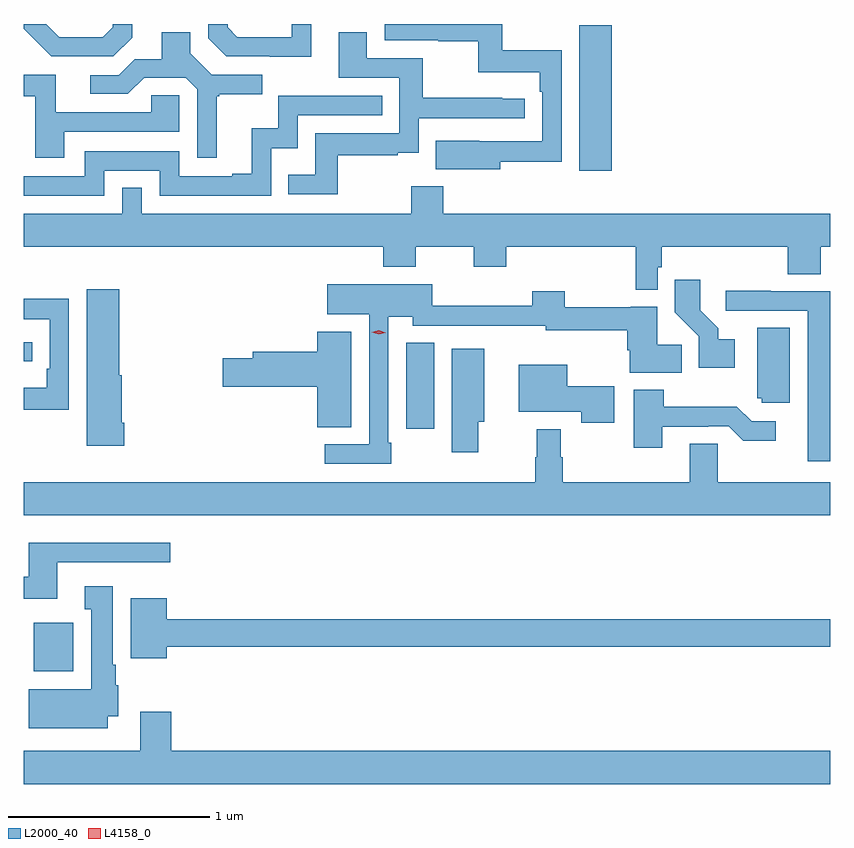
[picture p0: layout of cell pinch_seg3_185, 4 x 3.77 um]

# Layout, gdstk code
import gdstk
lib = gdstk.Library(unit=1e-6, precision=1e-09)
def R(c, l, rs):  # rectangles x0, y0, x1, y1
    for r in rs: c.add(gdstk.rectangle(r[:2], r[2:], *l))
def P(c, l, *ps):  # polygons
    for p in ps: c.add(gdstk.Polygon(p, *l))
L2000_40 = (2000, 40)
L4158_0 = (4158, 0)

pinch_seg3_185 = lib.new_cell('pinch_seg3_185')
R(pinch_seg3_185, L2000_40, [(987.131,745.43,987.328,745.672), (988.979,746.634,989.116,747.059), (987.081,746.967,987.124,747.063), (989.837,747.912,989.998,748.633)])
P(pinch_seg3_185, L2000_40, [(987.619,748.573),(987.619,748.64),(987.522,748.64),(987.522,748.623),(987.474,748.575),(987.258,748.575),(987.193,748.64),(987.081,748.64),(987.081,748.617),(987.219,748.479),(987.525,748.479)],
  [(988.507,748.64),(988.41,748.64),(988.41,748.575),(988.14,748.575),(988.092,748.623),(988.092,748.64),(987.996,748.64),(987.996,748.569),(988.086,748.479),(988.302,748.479),(988.302,748.478),(988.507,748.478)],
  [(989.443,747.958),(989.748,747.958),(989.748,748.51),(989.455,748.51),(989.455,748.64),(988.872,748.64),(988.872,748.56),(989.137,748.56),(989.137,748.555),(989.334,748.555),(989.334,748.4),(989.639,748.4),(989.639,748.304),(989.652,748.304),(989.652,748.059),(989.339,748.059),(989.339,748.06),(989.125,748.06),(989.125,747.92),(989.443,747.92)],
  [(988.639,747.99),(988.937,747.99),(988.937,748.001),(989.04,748.001),(989.04,748.173),(989.566,748.173),(989.566,748.269),(989.453,748.269),(989.453,748.274),(989.06,748.274),(989.06,748.47),(988.783,748.47),(988.783,748.598),(988.643,748.598),(988.643,748.374),(988.944,748.374),(988.944,748.098),(988.528,748.098),(988.528,747.892),(988.393,747.892),(988.393,747.795),(988.639,747.795)],
  [(988.039,748.281),(988.051,748.281),(988.051,748.292),(988.264,748.292),(988.264,748.389),(988.014,748.389),(987.907,748.496),(987.907,748.598),(987.767,748.598),(987.767,748.466),(987.632,748.466),(987.552,748.386),(987.411,748.386),(987.411,748.293),(987.598,748.293),(987.679,748.374),(987.885,748.374),(987.942,748.317),(987.942,747.978),(988.039,747.978)],
  [(987.283,748.107),(987.852,748.107),(987.852,748.287),(987.715,748.287),(987.715,748.203),(987.241,748.203),(987.241,748.389),(987.081,748.389),(987.081,748.281),(987.139,748.281),(987.139,747.978),(987.283,747.978)],
  [(987.48,747.912),(987.756,747.912),(987.756,747.789),(988.308,747.789),(988.308,748.025),(988.44,748.025),(988.44,748.188),(988.859,748.188),(988.859,748.284),(988.344,748.284),(988.344,748.123),(988.211,748.123),(988.211,747.898),(988.115,747.898),(988.115,747.885),(987.852,747.885),(987.852,748.008),(987.384,748.008),(987.384,747.885),(987.081,747.885),(987.081,747.789),(987.48,747.789)],
  [(990.225,747.435),(990.245,747.435),(990.245,747.536),(990.869,747.536),(990.869,747.4),(991.034,747.4),(991.034,747.536),(991.081,747.536),(991.081,747.7),(989.162,747.7),(989.162,747.835),(989.002,747.835),(989.002,747.7),(987.666,747.7),(987.666,747.827),(987.57,747.827),(987.57,747.7),(987.081,747.7),(987.081,747.536),(988.865,747.536),(988.865,747.437),(989.025,747.437),(989.025,747.536),(989.314,747.536),(989.314,747.437),(989.474,747.437),(989.474,747.536),(990.117,747.536),(990.117,747.323),(990.225,747.323)],
  [(990.607,747.076),(990.526,747.076),(990.526,747.131),(990.436,747.221),(990.436,747.373),(990.31,747.373),(990.31,747.21),(990.429,747.091),(990.429,746.936),(990.607,746.936)],
  [(988.903,746.563),(988.89,746.563),(988.89,747.188),(989.01,747.188),(989.01,747.144),(989.461,747.144),(989.461,747.143),(989.67,747.143),(989.67,747.121),(990.074,747.121),(990.074,747.023),(990.086,747.023),(990.086,746.912),(990.344,746.912),(990.344,747.05),(990.223,747.05),(990.223,747.238),(990.09,747.238),(990.09,747.235),(989.763,747.235),(989.763,747.316),(989.603,747.316),(989.603,747.242),(989.106,747.242),(989.106,747.349),(988.587,747.349),(988.587,747.2),(988.794,747.2),(988.794,746.556),(988.575,746.556),(988.575,746.46),(988.903,746.46)],
  [(987.581,746.662),(987.568,746.662),(987.568,746.898),(987.556,746.898),(987.556,747.325),(987.395,747.325),(987.395,746.55),(987.581,746.55)],
  [(991.081,747.315),(990.785,747.315),(990.785,747.318),(990.561,747.318),(990.561,747.219),(990.969,747.219),(990.969,746.472),(991.081,746.472)],
  [(987.306,747.278),(987.081,747.278),(987.081,747.177),(987.21,747.177),(987.21,746.932),(987.197,746.932),(987.197,746.836),(987.081,746.836),(987.081,746.727),(987.306,746.727)],
  [(990.88,747.133),(990.719,747.133),(990.719,746.784),(990.741,746.784),(990.741,746.763),(990.88,746.763)],
  [(988.705,747.115),(988.538,747.115),(988.538,747.014),(988.217,747.014),(988.217,746.984),(988.068,746.984),(988.068,746.842),(988.538,746.842),(988.538,746.641),(988.705,746.641)],
  [(989.334,746.669),(989.365,746.669),(989.365,747.031),(989.204,747.031),(989.204,746.517),(989.334,746.517)],
  [(990.01,746.845),(989.776,746.845),(989.776,746.95),(989.537,746.95),(989.537,746.717),(989.845,746.717),(989.845,746.662),(990.01,746.662)],
  [(990.247,746.643),(990.476,746.643),(990.476,746.646),(990.576,746.646),(990.649,746.573),(990.811,746.573),(990.811,746.67),(990.69,746.67),(990.617,746.743),(990.255,746.743),(990.255,746.827),(990.107,746.827),(990.107,746.538),(990.247,746.538)],
  [(991.081,746.368),(990.522,746.368),(990.522,746.558),(990.383,746.558),(990.383,746.368),(989.753,746.368),(989.753,746.492),(989.743,746.492),(989.743,746.632),(989.625,746.632),(989.625,746.492),(989.617,746.492),(989.617,746.368),(987.081,746.368),(987.081,746.204),(991.081,746.204)],
  [(987.247,745.971),(987.808,745.971),(987.808,746.068),(987.107,746.068),(987.107,745.9),(987.081,745.9),(987.081,745.79),(987.247,745.79)],
  [(987.499,745.208),(987.55,745.208),(987.55,745.362),(987.538,745.362),(987.538,745.462),(987.523,745.462),(987.523,745.852),(987.383,745.852),(987.383,745.739),(987.416,745.739),(987.416,745.342),(987.107,745.342),(987.107,745.148),(987.499,745.148)],
  [(987.79,745.552),(991.081,745.552),(991.081,745.688),(987.79,745.688),(987.79,745.792),(987.611,745.792),(987.611,745.496),(987.79,745.496)],
  [(991.081,745.036),(987.812,745.036),(987.812,745.231),(987.659,745.231),(987.659,745.036),(987.081,745.036),(987.081,744.872),(991.081,744.872)])
P(pinch_seg3_185, L4158_0, [(988.842,747.101),(988.808,747.112),(988.808,747.112),(988.808,747.112),(988.843,747.121),(988.877,747.109),(988.877,747.109),(988.877,747.109)])

lib.write_gds('pinch_seg3_185.gds')
